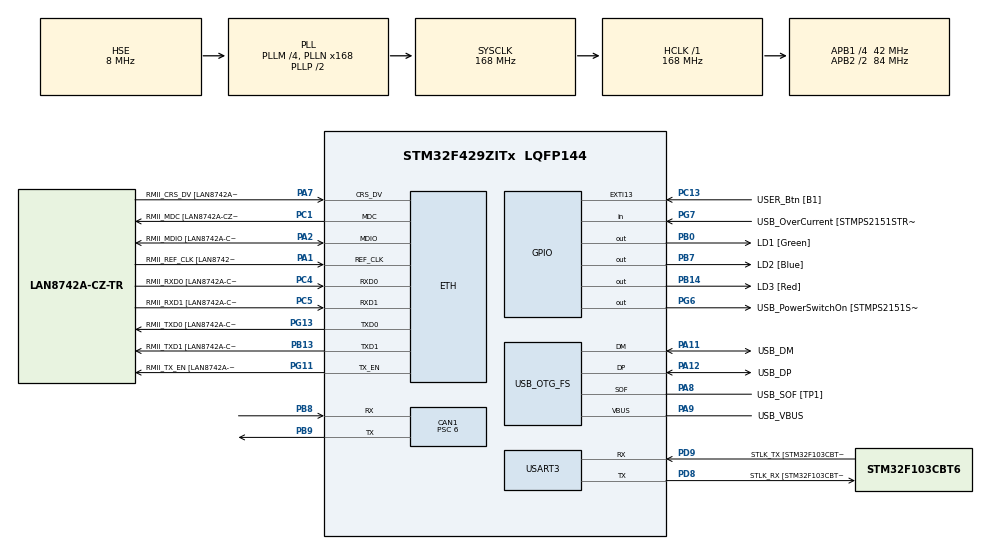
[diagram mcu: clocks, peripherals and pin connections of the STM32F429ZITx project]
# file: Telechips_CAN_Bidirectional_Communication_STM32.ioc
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CAN1.ABOM=ENABLE
CAN1.BS1=CAN_BS1_11TQ
CAN1.BS2=CAN_BS2_2TQ
CAN1.CalculateBaudRate=500000
CAN1.CalculateTimeBit=2000
CAN1.CalculateTimeQuantum=142.85714285714286
CAN1.NART=ENABLE
CAN1.Prescaler=6
ETH.MediaInterface=HAL_ETH_RMII_MODE
ETH.PHY_Name=LAN8742A_PHY_ADDRESS
ETH.PHY_Value=0
ETH.PhyAddress=0
Mcu.Family=STM32F4
Mcu.Name=STM32F429ZITx
Mcu.Package=LQFP144
NVIC.CAN1_RX0_IRQn=true\:0\:0\:false\:false\:true\:true\:true\:true
NVIC.PriorityGroup=NVIC_PRIORITYGROUP_4
PA1.GPIO_Label=RMII_REF_CLK [LAN8742A-CZ-TR_REFCLK0]
PA1.Mode=RMII
PA1.Signal=ETH_REF_CLK
PA10.GPIO_Label=USB_ID
PA10.Signal=USB_OTG_FS_ID
PA11.GPIO_Label=USB_DM
PA11.Mode=Device_Only
PA11.Signal=USB_OTG_FS_DM
PA12.GPIO_Label=USB_DP
PA12.Mode=Device_Only
PA12.Signal=USB_OTG_FS_DP
PA13.GPIO_Label=TMS
PA13.Mode=Serial_Wire
PA13.Signal=SYS_JTMS-SWDIO
PA14.GPIO_Label=TCK
PA14.Mode=Serial_Wire
PA14.Signal=SYS_JTCK-SWCLK
PA2.GPIO_Label=RMII_MDIO [LAN8742A-CZ-TR_MDIO]
PA2.Mode=RMII
PA2.Signal=ETH_MDIO
PA7.GPIO_Label=RMII_CRS_DV [LAN8742A-CZ-TR_CRS_DV]
PA7.Mode=RMII
PA7.Signal=ETH_CRS_DV
PA8.GPIO_Label=USB_SOF [TP1]
PA8.Mode=Activate_SOF_FS
PA8.Signal=USB_OTG_FS_SOF
PA9.GPIO_Label=USB_VBUS
PA9.Mode=Activate_VBUS
PA9.Signal=USB_OTG_FS_VBUS
PB0.GPIO_Label=LD1 [Green]
PB0.Signal=GPIO_Output
PB13.GPIO_Label=RMII_TXD1 [LAN8742A-CZ-TR_TXD1]
PB13.Mode=RMII
PB13.Signal=ETH_TXD1
PB14.GPIO_Label=LD3 [Red]
PB14.Signal=GPIO_Output
PB7.GPIO_Label=LD2 [Blue]
PB7.Signal=GPIO_Output
PB8.Mode=CAN_Activate
PB8.Signal=CAN1_RX
PB9.Mode=CAN_Activate
PB9.Signal=CAN1_TX
PC1.GPIO_Label=RMII_MDC [LAN8742A-CZ-TR_MDC]
PC1.Mode=RMII
PC1.Signal=ETH_MDC
PC13.GPIO_Label=USER_Btn [B1]
PC13.Signal=GPXTI13
PC14/OSC32_IN.Mode=LSE-External-Oscillator
PC14/OSC32_IN.Signal=RCC_OSC32_IN
PC15/OSC32_OUT.Mode=LSE-External-Oscillator
PC15/OSC32_OUT.Signal=RCC_OSC32_OUT
PC4.GPIO_Label=RMII_RXD0 [LAN8742A-CZ-TR_RXD0]
PC4.Mode=RMII
PC4.Signal=ETH_RXD0
PC5.GPIO_Label=RMII_RXD1 [LAN8742A-CZ-TR_RXD1]
PC5.Mode=RMII
PC5.Signal=ETH_RXD1
PD8.GPIO_Label=STLK_RX [STM32F103CBT6_PA3]
PD8.Mode=Asynchronous
PD8.Signal=USART3_TX
PD9.GPIO_Label=STLK_TX [STM32F103CBT6_PA2]
PD9.Mode=Asynchronous
PD9.Signal=USART3_RX
PG11.GPIO_Label=RMII_TX_EN [LAN8742A-CZ-TR_TXEN]
PG11.Mode=RMII
PG11.Signal=ETH_TX_EN
PG13.GPIO_Label=RMII_TXD0 [LAN8742A-CZ-TR_TXD0]
PG13.Mode=RMII
PG13.Signal=ETH_TXD0
PG6.GPIO_Label=USB_PowerSwitchOn [STMPS2151STR_EN]
PG6.Signal=GPIO_Output
PG7.GPIO_Label=USB_OverCurrent [STMPS2151STR_FAULT]
PG7.Signal=GPIO_Input
PH0/OSC_IN.GPIO_Label=MCO [STM32F103CBT6_PA8]
PH0/OSC_IN.Mode=HSE-External-Clock-Source
PH0/OSC_IN.Signal=RCC_OSC_IN
PH1/OSC_OUT.Mode=HSE-External-Clock-Source
PH1/OSC_OUT.Signal=RCC_OSC_OUT
ProjectManager.HeapSize=0x200
ProjectManager.StackSize=0x400
ProjectManager.TargetToolchain=STM32CubeIDE
RCC.48MHZClocksFreq_Value=48000000
RCC.AHBFreq_Value=168000000
RCC.APB1CLKDivider=RCC_HCLK_DIV4
RCC.APB1Freq_Value=42000000
RCC.APB1TimFreq_Value=84000000
RCC.APB2CLKDivider=RCC_HCLK_DIV2
RCC.APB2Freq_Value=84000000
RCC.APB2TimCLKDivider=2
RCC.APB2TimFreq_Value=168000000
RCC.CortexFreq_Value=168000000
RCC.HCLKFreq_Value=168000000
RCC.HSE_VALUE=8000000
RCC.HSI_VALUE=16000000
RCC.PLLM=4
RCC.PLLMUL=RCC_PLL_MUL9
RCC.PLLN=168
RCC.PLLQ=7
RCC.PRESCALERUSB=RCC_USBCLKSOURCE_PLL_DIV1_5
RCC.SYSCLKFreq_VALUE=168000000
RCC.SYSCLKSource=RCC_SYSCLKSOURCE_PLLCLK
RCC.SYSCLKSourceVirtual=RCC_SYSCLKSOURCE_PLLCLK
RCC.USBFreq_Value=48000000
RCC.VCOOutputFreq_Value=336000000
USART3.VirtualMode=VM_ASYNC
USB_OTG_FS.VirtualMode=Device_Only
board=NUCLEO-F429ZI

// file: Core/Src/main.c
/* USER CODE BEGIN Header */
/**
  ******************************************************************************
  * @file           : main.c
  * @brief          : Main program body
  ******************************************************************************
  * @attention
  *
  * Copyright (c) 2025 STMicroelectronics.
  * All rights reserved.
  *
  * This software is licensed under terms that can be found in the LICENSE file
  * in the root directory of this software component.
  * If no LICENSE file comes with this software, it is provided AS-IS.
  *
  ******************************************************************************
  */
/* USER CODE END Header */
#include "main.h"
#include "string.h"

/* USER CODE BEGIN Includes */
#include <stdio.h>
/* USER CODE END Includes */

/* USER CODE BEGIN PD */
#define CAN_ID_APU_TO_MCU	0x123
#define CAN_ID_MCU_TO_APU	0x456

#define CAN_TX_PERIOD_MS	500
#define CAN_MAX_DATA_LEN	8
/* USER CODE END PD */

ETH_TxPacketConfig TxConfig;
ETH_DMADescTypeDef  DMARxDscrTab[ETH_RX_DESC_CNT]; /* Ethernet Rx DMA Descriptors */
ETH_DMADescTypeDef  DMATxDscrTab[ETH_TX_DESC_CNT]; /* Ethernet Tx DMA Descriptors */

CAN_HandleTypeDef hcan1;

ETH_HandleTypeDef heth;

UART_HandleTypeDef huart3;

PCD_HandleTypeDef hpcd_USB_OTG_FS;

void SystemClock_Config(void);
static void MX_GPIO_Init(void);
static void MX_ETH_Init(void);
static void MX_USART3_UART_Init(void);
static void MX_USB_OTG_FS_PCD_Init(void);
static void MX_CAN1_Init(void);

/* USER CODE BEGIN PFP */
#include <stdarg.h>
#define printf	Uart3_Printf

// UART print Method

void Uart3_Send_Byte(char ch){
	//	TDR이 비었는 경우에 쓰기 가능 (TXE == 1 대기)
	if(ch=='\n'){
		USART3->DR = '\r';	// TDR <- c
		while((USART3->SR>>7 & 0x1)==0);
	}
	USART3->DR = ch;		// TDR <- c
	while((USART3->SR>>7 & 0x1)==0);
}

void Uart3_Send_String(char* str){
	while(*str){
		Uart3_Send_Byte(*str++);
	}
}

void Uart3_Printf(char *fmt,...)
{
	va_list ap;
	char string[256];

	va_start(ap,fmt);
	vsprintf(string,fmt,ap);
	va_end(ap);
	Uart3_Send_String(string);
}

// CAN TRX Filter Function (MCU <---> APU)
// In the case of filtering for a specific ID
void CAN_Filter_TRX(void)
{
    CAN_FilterTypeDef s_filter = {0};

    s_filter.FilterBank = 0;
    s_filter.FilterMode = CAN_FILTERMODE_IDMASK;
    s_filter.FilterScale = CAN_FILTERSCALE_32BIT;

    s_filter.FilterIdHigh     = (0x123 << 5);
    s_filter.FilterMaskIdHigh = (0x7FF << 5);

    s_filter.FilterFIFOAssignment = CAN_FILTER_FIFO0;
    s_filter.FilterActivation = ENABLE;
    s_filter.SlaveStartFilterBank = 14;

    HAL_CAN_ConfigFilter(&hcan1, &s_filter);
}

// CAN TRX Filter All Function (MCU <---> APU)
// In the case of filtering for  ALL ID
void CAN_Filter_All(void)
{
    CAN_FilterTypeDef s_filter = {0};

    s_filter.FilterBank = 0;
    s_filter.FilterMode = CAN_FILTERMODE_IDMASK;
    s_filter.FilterScale = CAN_FILTERSCALE_32BIT;

    s_filter.FilterIdHigh      = 0x0000;
    s_filter.FilterIdLow       = 0x0000;
    s_filter.FilterMaskIdHigh  = 0x0000;
    s_filter.FilterMaskIdLow   = 0x0000;

    s_filter.FilterFIFOAssignment = CAN_FILTER_FIFO0;
    s_filter.FilterActivation = ENABLE;
    s_filter.SlaveStartFilterBank = 14;

    HAL_CAN_ConfigFilter(&hcan1, &s_filter);
}

// CAN Send Data -> ID , Data
void CAN_Send_Message(uint16_t stdId, char *str)
{

	CAN_TxHeaderTypeDef s_txheader;
	uint8_t u_txdata[8] = {0};
	uint32_t u_tx_mailbox;

	uint8_t len = strlen(str);
	if (len > 8) len = 8;

	s_txheader.StdId = stdId;
	s_txheader.IDE = CAN_ID_STD;
	s_txheader.RTR = CAN_RTR_DATA;
	s_txheader.DLC = len;
	s_txheader.TransmitGlobalTime = DISABLE;

	memcpy(u_txdata, str, len);

	HAL_StatusTypeDef ret = HAL_CAN_AddTxMessage(&hcan1, &s_txheader, u_txdata, &u_tx_mailbox);

	if (ret == HAL_OK)
	{
	    printf("[MCU--->APU]=0x%03X\r\n\n", stdId);
	}
	else
	{
	    printf("CAN TX FAIL!!!\r\n");
	}

}

// CAN RX Callback Function
void HAL_CAN_RxFifo0MsgPendingCallback(CAN_HandleTypeDef *hcan)
{
    CAN_RxHeaderTypeDef s_rxheader;
    uint8_t u_rxdata[8];

    HAL_CAN_GetRxMessage(hcan, CAN_RX_FIFO0, &s_rxheader, u_rxdata);

    // Debuging test
    //printf("CAN RX IRQ\r\n");
    if (s_rxheader.StdId == 0x123)
    {
        u_rxdata[s_rxheader.DLC] = '\0';
        printf("[APU--->MCU]  [0x%03X] %s\r\n\n", s_rxheader.StdId,u_rxdata);
    }
}

/* USER CODE END PFP */

int main(void)
{

  /* MCU Configuration--------------------------------------------------------*/

  /* Reset of all peripherals, Initializes the Flash interface and the Systick. */
  HAL_Init();

  /* Configure the system clock */
  SystemClock_Config();

  /* Initialize all configured peripherals */
  MX_GPIO_Init();
  MX_ETH_Init();
  MX_USART3_UART_Init();
  MX_USB_OTG_FS_PCD_Init();
  MX_CAN1_Init();
  /* USER CODE BEGIN 2 */
  CAN_Filter_All();
  HAL_CAN_Start(&hcan1);
  HAL_CAN_ActivateNotification(&hcan1, CAN_IT_RX_FIFO0_MSG_PENDING);
  /* USER CODE END 2 */

  printf("STM32 CAN Bidirectional Start\n");
  /* Infinite loop */
  while (1)
  {
	  CAN_Send_Message(0x456, "Hi APU");
	  HAL_Delay(CAN_TX_PERIOD_MS);

	  /* other Set Enable ID + Message
	  CAN_Send_String(0x456, "MCU->APU");
	  HAL_Delay(500);
	  */

  }
}

void SystemClock_Config(void)
{
  RCC_OscInitTypeDef RCC_OscInitStruct = {0};
  RCC_ClkInitTypeDef RCC_ClkInitStruct = {0};

  /** Configure the main internal regulator output voltage
  */
  __HAL_RCC_PWR_CLK_ENABLE();
  __HAL_PWR_VOLTAGESCALING_CONFIG(PWR_REGULATOR_VOLTAGE_SCALE1);

  /** Initializes the RCC Oscillators according to the specified parameters
  * in the RCC_OscInitTypeDef structure.
  */
  RCC_OscInitStruct.OscillatorType = RCC_OSCILLATORTYPE_HSE;
  RCC_OscInitStruct.HSEState = RCC_HSE_BYPASS;
  RCC_OscInitStruct.PLL.PLLState = RCC_PLL_ON;
  RCC_OscInitStruct.PLL.PLLSource = RCC_PLLSOURCE_HSE;
  RCC_OscInitStruct.PLL.PLLM = 4;
  RCC_OscInitStruct.PLL.PLLN = 168;
  RCC_OscInitStruct.PLL.PLLP = RCC_PLLP_DIV2;
  RCC_OscInitStruct.PLL.PLLQ = 7;
  if (HAL_RCC_OscConfig(&RCC_OscInitStruct) != HAL_OK)
  {
    Error_Handler();
  }

  /** Initializes the CPU, AHB and APB buses clocks
  */
  RCC_ClkInitStruct.ClockType = RCC_CLOCKTYPE_HCLK|RCC_CLOCKTYPE_SYSCLK
                              |RCC_CLOCKTYPE_PCLK1|RCC_CLOCKTYPE_PCLK2;
  RCC_ClkInitStruct.SYSCLKSource = RCC_SYSCLKSOURCE_PLLCLK;
  RCC_ClkInitStruct.AHBCLKDivider = RCC_SYSCLK_DIV1;
  RCC_ClkInitStruct.APB1CLKDivider = RCC_HCLK_DIV4;
  RCC_ClkInitStruct.APB2CLKDivider = RCC_HCLK_DIV2;

  if (HAL_RCC_ClockConfig(&RCC_ClkInitStruct, FLASH_LATENCY_5) != HAL_OK)
  {
    Error_Handler();
  }
}

static void MX_CAN1_Init(void)
{

  hcan1.Instance = CAN1;
  hcan1.Init.Prescaler = 6;
  hcan1.Init.Mode = CAN_MODE_NORMAL;
  hcan1.Init.SyncJumpWidth = CAN_SJW_1TQ;
  hcan1.Init.TimeSeg1 = CAN_BS1_11TQ;
  hcan1.Init.TimeSeg2 = CAN_BS2_2TQ;
  hcan1.Init.TimeTriggeredMode = DISABLE;
  hcan1.Init.AutoBusOff = ENABLE;
  hcan1.Init.AutoWakeUp = DISABLE;
  hcan1.Init.AutoRetransmission = ENABLE;
  hcan1.Init.ReceiveFifoLocked = DISABLE;
  hcan1.Init.TransmitFifoPriority = DISABLE;
  if (HAL_CAN_Init(&hcan1) != HAL_OK)
  {
    Error_Handler();
  }

}

static void MX_ETH_Init(void)
{

   static uint8_t MACAddr[6];

  heth.Instance = ETH;
  MACAddr[0] = 0x00;
  MACAddr[1] = 0x80;
  MACAddr[2] = 0xE1;
  MACAddr[3] = 0x00;
  MACAddr[4] = 0x00;
  MACAddr[5] = 0x00;
  heth.Init.MACAddr = &MACAddr[0];
  heth.Init.MediaInterface = HAL_ETH_RMII_MODE;
  heth.Init.TxDesc = DMATxDscrTab;
  heth.Init.RxDesc = DMARxDscrTab;
  heth.Init.RxBuffLen = 1524;

  if (HAL_ETH_Init(&heth) != HAL_OK)
  {
    Error_Handler();
  }

  memset(&TxConfig, 0 , sizeof(ETH_TxPacketConfig));
  TxConfig.Attributes = ETH_TX_PACKETS_FEATURES_CSUM | ETH_TX_PACKETS_FEATURES_CRCPAD;
  TxConfig.ChecksumCtrl = ETH_CHECKSUM_IPHDR_PAYLOAD_INSERT_PHDR_CALC;
  TxConfig.CRCPadCtrl = ETH_CRC_PAD_INSERT;

}

static void MX_USART3_UART_Init(void)
{

  huart3.Instance = USART3;
  huart3.Init.BaudRate = 115200;
  huart3.Init.WordLength = UART_WORDLENGTH_8B;
  huart3.Init.StopBits = UART_STOPBITS_1;
  huart3.Init.Parity = UART_PARITY_NONE;
  huart3.Init.Mode = UART_MODE_TX_RX;
  huart3.Init.HwFlowCtl = UART_HWCONTROL_NONE;
  huart3.Init.OverSampling = UART_OVERSAMPLING_16;
  if (HAL_UART_Init(&huart3) != HAL_OK)
  {
    Error_Handler();
  }

}

static void MX_USB_OTG_FS_PCD_Init(void)
{

  hpcd_USB_OTG_FS.Instance = USB_OTG_FS;
  hpcd_USB_OTG_FS.Init.dev_endpoints = 4;
  hpcd_USB_OTG_FS.Init.speed = PCD_SPEED_FULL;
  hpcd_USB_OTG_FS.Init.dma_enable = DISABLE;
  hpcd_USB_OTG_FS.Init.phy_itface = PCD_PHY_EMBEDDED;
  hpcd_USB_OTG_FS.Init.Sof_enable = ENABLE;
  hpcd_USB_OTG_FS.Init.low_power_enable = DISABLE;
  hpcd_USB_OTG_FS.Init.lpm_enable = DISABLE;
  hpcd_USB_OTG_FS.Init.vbus_sensing_enable = ENABLE;
  hpcd_USB_OTG_FS.Init.use_dedicated_ep1 = DISABLE;
  if (HAL_PCD_Init(&hpcd_USB_OTG_FS) != HAL_OK)
  {
    Error_Handler();
  }

}

static void MX_GPIO_Init(void)
{
  GPIO_InitTypeDef GPIO_InitStruct = {0};

  /* GPIO Ports Clock Enable */
  __HAL_RCC_GPIOC_CLK_ENABLE();
  __HAL_RCC_GPIOH_CLK_ENABLE();
  __HAL_RCC_GPIOA_CLK_ENABLE();
  __HAL_RCC_GPIOB_CLK_ENABLE();
  __HAL_RCC_GPIOD_CLK_ENABLE();
  __HAL_RCC_GPIOG_CLK_ENABLE();

  /*Configure GPIO pin Output Level */
  HAL_GPIO_WritePin(GPIOB, LD1_Pin|LD3_Pin|LD2_Pin, GPIO_PIN_RESET);

  /*Configure GPIO pin Output Level */
  HAL_GPIO_WritePin(USB_PowerSwitchOn_GPIO_Port, USB_PowerSwitchOn_Pin, GPIO_PIN_RESET);

  /*Configure GPIO pin : USER_Btn_Pin */
  GPIO_InitStruct.Pin = USER_Btn_Pin;
  GPIO_InitStruct.Mode = GPIO_MODE_IT_RISING;
  GPIO_InitStruct.Pull = GPIO_NOPULL;
  HAL_GPIO_Init(USER_Btn_GPIO_Port, &GPIO_InitStruct);

  /*Configure GPIO pins : LD1_Pin LD3_Pin LD2_Pin */
  GPIO_InitStruct.Pin = LD1_Pin|LD3_Pin|LD2_Pin;
  GPIO_InitStruct.Mode = GPIO_MODE_OUTPUT_PP;
  GPIO_InitStruct.Pull = GPIO_NOPULL;
  GPIO_InitStruct.Speed = GPIO_SPEED_FREQ_LOW;
  HAL_GPIO_Init(GPIOB, &GPIO_InitStruct);

  /*Configure GPIO pin : USB_PowerSwitchOn_Pin */
  GPIO_InitStruct.Pin = USB_PowerSwitchOn_Pin;
  GPIO_InitStruct.Mode = GPIO_MODE_OUTPUT_PP;
  GPIO_InitStruct.Pull = GPIO_NOPULL;
  GPIO_InitStruct.Speed = GPIO_SPEED_FREQ_LOW;
  HAL_GPIO_Init(USB_PowerSwitchOn_GPIO_Port, &GPIO_InitStruct);

  /*Configure GPIO pin : USB_OverCurrent_Pin */
  GPIO_InitStruct.Pin = USB_OverCurrent_Pin;
  GPIO_InitStruct.Mode = GPIO_MODE_INPUT;
  GPIO_InitStruct.Pull = GPIO_NOPULL;
  HAL_GPIO_Init(USB_OverCurrent_GPIO_Port, &GPIO_InitStruct);

}

void Error_Handler(void)
{
  __disable_irq();
  while (1)
  {
  }
}
